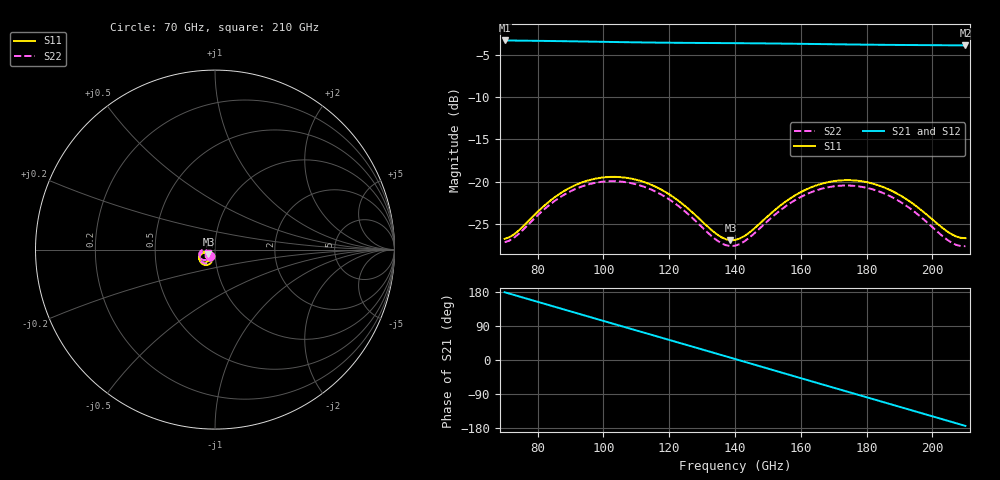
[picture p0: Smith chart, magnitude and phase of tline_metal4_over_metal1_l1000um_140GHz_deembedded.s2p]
! Created with skrf 2.0.1 (http://scikit-rf.org).
# GHz S DB R 50.0
!freq dBS11 angS11 dBS21 angS21 dBS12 angS12 dBS22 angS22
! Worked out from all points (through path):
!   101 points, 70 GHz to 210 GHz, reference 50 ohm
!   highest |S21| = -3.33 dB at 70 GHz (marker M1); lowest = -3.9 dB at 210 GHz (marker M2)
!   group delay of S21, straight-line fit = 7 ps
!   lowest |S11| = -26.9 dB at 138.6 GHz (marker M3), VSWR 1.09, Z = 46.4 - j2.48 ohm
!   |S11| at or under -10 dB: start of sweep to end of sweep
!   |S22| runs from -27.6 to -20.0 dB; largest |S21 - S12| = 7.8e-14
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70  -26.76 -123.6  -3.33 178.8  -3.33 178.8  -27.16 -126.0
74.2  -25.80 -111.3  -3.35 168.3  -3.35 168.3  -26.20 -114.0
81.2  -23.15 -105.8  -3.38 150.6  -3.38 150.6  -23.56 -109.1
88.2  -21.08 -111.8  -3.42 132.9  -3.42 132.9  -21.53 -115.6
93.8  -20.06 -119.8  -3.45 118.8  -3.45 118.8  -20.53 -124.1
99.4  -19.54 -129.1  -3.49 104.7  -3.49 104.7  -20.03 -133.8
105  -19.47 -138.6  -3.53 90.6  -3.53 90.6  -19.99 -143.8
110.6  -19.84 -147.8  -3.56 76.6  -3.56 76.6  -20.39 -153.4
117.6  -20.95 -157.7  -3.59 59.0  -3.59 59.0  -21.53 -163.7
128.8  -24.26 -163.5  -3.63 30.9  -3.63 30.9  -24.94 -170.2
134.4  -26.20 -155.8  -3.64 16.8  -3.64 16.8  -26.92 -162.4
138.6  -26.92 -143.8  -3.65 6.2  -3.65 6.2  -27.62 -150.2
140  -26.90 -139.3  -3.65 2.7  -3.65 2.7  -27.57 -145.7
145.6  -25.62 -125.2  -3.67 -11.5  -3.67 -11.5  -26.21 -132.0
151.2  -23.66 -120.6  -3.69 -25.7  -3.69 -25.7  -24.22 -128.1
163.8  -20.57 -130.3  -3.75 -57.5  -3.75 -57.5  -21.16 -139.1
175  -19.84 -146.1  -3.81 -85.8  -3.81 -85.8  -20.47 -156.0
180.6  -20.12 -154.0  -3.83 -99.9  -3.83 -99.9  -20.79 -164.5
187.6  -21.08 -162.7  -3.86 -117.4  -3.86 -117.4  -21.82 -173.7
198.8  -24.08 -167.6  -3.89 -145.7  -3.89 -145.7  -24.97 -179.2
205.8  -26.22 -157.5  -3.90 -163.3  -3.90 -163.3  -27.21 -168.6
210  -26.68 -145.8  -3.92 -173.9  -3.92 -173.9  -27.63 -156.3
